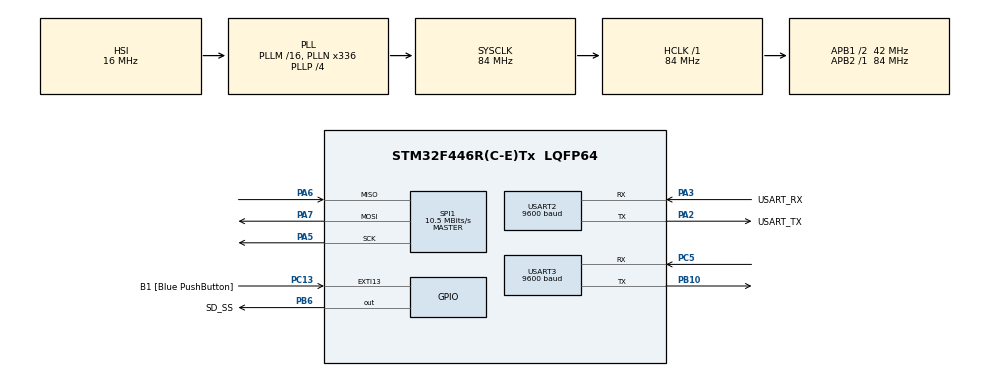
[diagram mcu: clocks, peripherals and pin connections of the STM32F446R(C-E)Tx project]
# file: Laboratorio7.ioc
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FATFS._MAX_SS=4096
FATFS._USE_LFN=1
Mcu.Family=STM32F4
Mcu.Name=STM32F446R(C-E)Tx
Mcu.Package=LQFP64
NVIC.PriorityGroup=NVIC_PRIORITYGROUP_0
NVIC.USART2_IRQn=true\:0\:0\:false\:false\:true\:true\:true\:true
PA13.GPIO_Label=TMS
PA13.Mode=Serial_Wire
PA13.Signal=SYS_JTMS-SWDIO
PA14.GPIO_Label=TCK
PA14.Mode=Serial_Wire
PA14.Signal=SYS_JTCK-SWCLK
PA2.GPIO_Label=USART_TX
PA2.Mode=Asynchronous
PA2.Signal=USART2_TX
PA3.GPIO_Label=USART_RX
PA3.Mode=Asynchronous
PA3.Signal=USART2_RX
PA5.Mode=Full_Duplex_Master
PA5.Signal=SPI1_SCK
PA6.Mode=Full_Duplex_Master
PA6.Signal=SPI1_MISO
PA7.Mode=Full_Duplex_Master
PA7.Signal=SPI1_MOSI
PB10.Mode=Asynchronous
PB10.Signal=USART3_TX
PB3.GPIO_Label=SWO
PB3.Signal=SYS_JTDO-SWO
PB6.GPIO_Label=SD_SS
PB6.GPIO_ModeDefaultOutputPP=GPIO_MODE_OUTPUT_PP
PB6.GPIO_Speed=GPIO_SPEED_FREQ_MEDIUM
PB6.Signal=GPIO_Output
PC13.GPIO_Label=B1 [Blue PushButton]
PC13.GPIO_ModeDefaultEXTI=GPIO_MODE_IT_FALLING
PC13.Signal=GPXTI13
PC14-OSC32_IN.Mode=LSE-External-Oscillator
PC14-OSC32_IN.Signal=RCC_OSC32_IN
PC15-OSC32_OUT.Mode=LSE-External-Oscillator
PC15-OSC32_OUT.Signal=RCC_OSC32_OUT
PC5.Mode=Asynchronous
PC5.Signal=USART3_RX
PH0-OSC_IN.Mode=HSE-External-Oscillator
PH0-OSC_IN.Signal=RCC_OSC_IN
PH1-OSC_OUT.Mode=HSE-External-Oscillator
PH1-OSC_OUT.Signal=RCC_OSC_OUT
ProjectManager.HeapSize=0x200
ProjectManager.StackSize=0x400
ProjectManager.TargetToolchain=STM32CubeIDE
RCC.48MHZClocksFreq_Value=84000000
RCC.AHBFreq_Value=84000000
RCC.APB1CLKDivider=RCC_HCLK_DIV2
RCC.APB1Freq_Value=42000000
RCC.APB1TimFreq_Value=84000000
RCC.APB2Freq_Value=84000000
RCC.APB2TimFreq_Value=84000000
RCC.CortexFreq_Value=84000000
RCC.FLatency-AdvancedSettings=FLASH_LATENCY_2
RCC.HCLKFreq_Value=84000000
RCC.HSE_VALUE=8000000
RCC.HSI_VALUE=16000000
RCC.PLLN=336
RCC.PLLP=RCC_PLLP_DIV4
RCC.SYSCLKFreq_VALUE=84000000
RCC.SYSCLKSource=RCC_SYSCLKSOURCE_PLLCLK
RCC.USBFreq_Value=168000000
RCC.VCOOutputFreq_Value=336000000
SPI1.BaudRatePrescaler=SPI_BAUDRATEPRESCALER_8
SPI1.CalculateBaudRate=10.5 MBits/s
SPI1.Direction=SPI_DIRECTION_2LINES
SPI1.Mode=SPI_MODE_MASTER
SPI1.VirtualType=VM_MASTER
USART2.BaudRate=9600
USART2.VirtualMode=VM_ASYNC
USART3.BaudRate=9600
USART3.VirtualMode=VM_ASYNC
VP_FATFS_VS_Generic.Mode=User_defined
board=NUCLEO-F446RE

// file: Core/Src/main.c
/* USER CODE BEGIN Header */
/**
  ******************************************************************************
  * @file           : main.c
  * @brief          : Main program body
  ******************************************************************************
  * @attention
  *
  * Copyright (c) 2025 STMicroelectronics.
  * All rights reserved.
  *
  * This software is licensed under terms that can be found in the LICENSE file
  * in the root directory of this software component.
  * If no LICENSE file comes with this software, it is provided AS-IS.
  *
  ******************************************************************************
  */
/* USER CODE END Header */
#include "main.h"
#include "fatfs.h"

/* USER CODE BEGIN Includes */
#include "fatfs_sd.h"
#include "string.h"
#include "stdio.h"
/* USER CODE END Includes */

/* USER CODE BEGIN PD */
SPI_HandleTypeDef hspi1;
FATFS fs;
FATFS *pfs;
FIL fil;
FRESULT fres;
DWORD fre_clust;
uint32_t totalSpace, freeSpace;
char buffer[100];
char buffer_terminal[10];
/* USER CODE END PD */

SPI_HandleTypeDef hspi1;

UART_HandleTypeDef huart2;
UART_HandleTypeDef huart3;

/* USER CODE BEGIN PV */

/*******************************************************************
 * Variables globles
 */

uint8_t temp[2];
uint16_t indx  = 0;

uint8_t flag_op1 = 0;
uint8_t flag_op2 = 0;
uint8_t flag_op3 = 0;
uint8_t flag_op4 = 0;

/* USER CODE END PV */

void SystemClock_Config(void);
static void MX_GPIO_Init(void);
static void MX_USART2_UART_Init(void);
static void MX_SPI1_Init(void);
static void MX_USART3_UART_Init(void);

/* USER CODE BEGIN 0 */
void transmit_uart(char *string){
	uint8_t len = strlen(string);
	HAL_UART_Transmit(&huart2, (uint8_t*) string , len, 200);
}
/* USER CODE END 0 */

int main(void)
{

  /* MCU Configuration--------------------------------------------------------*/

  /* Reset of all peripherals, Initializes the Flash interface and the Systick. */
  HAL_Init();

  /* Configure the system clock */
  SystemClock_Config();

  /* USER CODE BEGIN SysInit */
  uint8_t pruebas[] = "pruebas.txt";
  uint8_t pruebas1[] = "pruebas1.txt";
  uint8_t pruebas2[] = "pruebas2.txt";
  uint8_t pruebas3[] = "pruebas3.txt";

  /* USER CODE END SysInit */

  /* Initialize all configured peripherals */
  MX_GPIO_Init();
  MX_USART2_UART_Init();
  MX_SPI1_Init();
  MX_FATFS_Init();
  MX_USART3_UART_Init();
  /* USER CODE BEGIN 2 */

  //HAL_UART_Receive_IT(&huart3, temp, 1);
  HAL_UART_Receive_IT(&huart2, buffer_terminal, 10);

  /* USER CODE END 2 */

  /* Infinite loop */
  /* USER CODE BEGIN WHILE */
  while (1)
  {
	  /*Waiting for the Micro SD module to inicialitize*/
	    HAL_Delay(500);

	    //Montamos el sistema de archivos
	     fres = f_mount(&fs, "/", 0);
	     if (fres == FR_OK){
	   	  transmit_uart("Micro SD card is mounted successfully\n");
	     } else if (fres != FR_OK){
	   	  transmit_uart("Micro SD card's mount error!\n");
	     }

	    //HAL_UART_Transmit(&huart3, "hola", 10, 1000);
/*
	    //Abrimos el archivo en modo lectura
	            		    fres = f_open(&fil, pruebas1, FA_READ);
	            		    if (fres == FR_OK){
	            		  	  transmit_uart("File opened for reading. \n");
	            		    } else if (fres != FR_OK){
	            		  	  transmit_uart("File was not opened for reading. \n");
	            		    }

	            		    //Leemos el archivo
	            		    while (f_gets(buffer, sizeof(buffer), &fil)){
	            		  	  char mRd[100];
	            		  	  sprintf(mRd, "%s", buffer);
	            		  	  transmit_uart(mRd);
	            		    }

	            		    //Cerramos el archivo
	            		      fres = f_close(&fil);
	            		      if (fres == FR_OK){
	            		    	  transmit_uart("The file is closed. \n");
	            		      } else if (fres != FR_OK){
	            		    	  transmit_uart("The file was not closed. \n");
	            		      }

*/

	    //Montamos el sistema de archivos
	    fres = f_mount(&fs, "/", 0);
	    if (fres == FR_OK){
	  	  transmit_uart("Micro SD card is mounted successfully\n");
	    } else if (fres != FR_OK){
	  	  transmit_uart("Micro SD card's mount error!\n");
	    }

     //**************************************************************
         //Diseño de Menú
     //**************************************************************
         transmit_uart("Seleccionar archivo, presiona el número correspondiente: \n");
         transmit_uart("1. pruebas \n");
         transmit_uart("2. pruebas1 \n");
         transmit_uart("3. pruebas2 \n");
         transmit_uart("4. pruebas3 \n");

         for(int i = 0; i < 10; i++) {
        	    			if (buffer_terminal[i] == 49){   //117 es ASCII de u
        	    						flag_op1 = 1;
        	    						buffer_terminal[i] = 0;
        	    					}

        	    			if (buffer_terminal[i] == 50){   //100 es ASCII de d
        	    						flag_op2 = 1;
        	    						buffer_terminal[i] = 0;

        	    					}

        	    			if (buffer_terminal[i] == 51){   //108 es ASCII de l
        	    						flag_op3 = 1;
        	    						buffer_terminal[i] = 0;
        	    					}

        	    			if (buffer_terminal[i] == 52){   //114 es ASCII de l
        	    						flag_op4 = 1;
        	    						buffer_terminal[i] = 0;
        	    					}

        } //Fin del for

         if (flag_op1 == 1){
        	 flag_op1 = 0;
        	 //Abrimos el archivo en modo lectura
        		    fres = f_open(&fil, pruebas, FA_READ);
        		    if (fres == FR_OK){
        		  	  transmit_uart("File opened for reading. \n");
        		    } else if (fres != FR_OK){
        		  	  transmit_uart("File was not opened for reading. \n");
        		    }

        		    //Leemos el archivo
        		    while (f_gets(buffer, sizeof(buffer), &fil)){
        		  	  char mRd[100];
        		  	  sprintf(mRd, "%s", buffer);
        		  	  transmit_uart(mRd);
        		    }

        		    //Cerramos el archivo
        		      fres = f_close(&fil);
        		      if (fres == FR_OK){
        		    	  transmit_uart("The file is closed. \n");
        		      } else if (fres != FR_OK){
        		    	  transmit_uart("The file was not closed. \n");
        		      }
         } //fin del if

         if (flag_op2 == 1){
        	 flag_op2 = 0;
              //Abrimos el archivo en modo lectura
                		    fres = f_open(&fil, pruebas1, FA_READ);
                		    if (fres == FR_OK){
                		  	  transmit_uart("File opened for reading. \n");
                		    } else if (fres != FR_OK){
                		  	  transmit_uart("File was not opened for reading. \n");
                		    }

                		    //Leemos el archivo
                		    while (f_gets(buffer, sizeof(buffer), &fil)){
                		  	  char mRd[100];
                		  	  sprintf(mRd, "%s", buffer);
                		  	  transmit_uart(mRd);
                		    }

                		    //Cerramos el archivo
                		      fres = f_close(&fil);
                		      if (fres == FR_OK){
                		    	  transmit_uart("The file is closed. \n");
                		      } else if (fres != FR_OK){
                		    	  transmit_uart("The file was not closed. \n");
                		      }
                 } //fin del if

         if (flag_op3 == 1){
                	 //Abrimos el archivo en modo lectura
                		    fres = f_open(&fil, pruebas2, FA_READ);
                		    if (fres == FR_OK){
                		  	  transmit_uart("File opened for reading. \n");
                		    } else if (fres != FR_OK){
                		  	  transmit_uart("File was not opened for reading. \n");
                		    }

                		    //Leemos el archivo
                		    while (f_gets(buffer, sizeof(buffer), &fil)){
                		  	  char mRd[100];
                		  	  sprintf(mRd, "%s", buffer);
                		  	  transmit_uart(mRd);
                		    }

                		    //Cerramos el archivo
                		      fres = f_close(&fil);
                		      if (fres == FR_OK){
                		    	  transmit_uart("The file is closed. \n");
                		      } else if (fres != FR_OK){
                		    	  transmit_uart("The file was not closed. \n");
                		      }
                 } //fin del if

         if (flag_op4 == 1){
        	 flag_op4 = 0;
                	 //Abrimos el archivo en modo lectura
                		    fres = f_open(&fil, pruebas3, FA_READ);
                		    if (fres == FR_OK){
                		  	  transmit_uart("File opened for reading. \n");
                		    } else if (fres != FR_OK){
                		  	  transmit_uart("File was not opened for reading. \n");
                		    }

                		    //Leemos el archivo
                		    while (f_gets(buffer, sizeof(buffer), &fil)){
                		  	  char mRd[100];
                		  	  sprintf(mRd, "%s", buffer);
                		  	  transmit_uart(mRd);
                		    }

                		    //Cerramos el archivo
                		      fres = f_close(&fil);
                		      if (fres == FR_OK){
                		    	  transmit_uart("The file is closed. \n");
                		      } else if (fres != FR_OK){
                		    	  transmit_uart("The file was not closed. \n");
                		      }
                 } //fin del if

         //Desmontamos el sistema de archivos
         	    	 f_mount(NULL,  "", 1);
         	    	 if (fres == FR_OK){
         	    		 transmit_uart("The Micro SD card is unmounted! \n");
         	    	 } else if (fres != FR_OK){
         	    		 transmit_uart("The Micro SD card was not unmounted! \n");
         	    	 }

         	    	 HAL_Delay(2000);

    /* USER CODE END WHILE */

  }
}

void SystemClock_Config(void)
{
  RCC_OscInitTypeDef RCC_OscInitStruct = {0};
  RCC_ClkInitTypeDef RCC_ClkInitStruct = {0};

  /** Configure the main internal regulator output voltage
  */
  __HAL_RCC_PWR_CLK_ENABLE();
  __HAL_PWR_VOLTAGESCALING_CONFIG(PWR_REGULATOR_VOLTAGE_SCALE3);

  /** Initializes the RCC Oscillators according to the specified parameters
  * in the RCC_OscInitTypeDef structure.
  */
  RCC_OscInitStruct.OscillatorType = RCC_OSCILLATORTYPE_HSI;
  RCC_OscInitStruct.HSIState = RCC_HSI_ON;
  RCC_OscInitStruct.HSICalibrationValue = RCC_HSICALIBRATION_DEFAULT;
  RCC_OscInitStruct.PLL.PLLState = RCC_PLL_ON;
  RCC_OscInitStruct.PLL.PLLSource = RCC_PLLSOURCE_HSI;
  RCC_OscInitStruct.PLL.PLLM = 16;
  RCC_OscInitStruct.PLL.PLLN = 336;
  RCC_OscInitStruct.PLL.PLLP = RCC_PLLP_DIV4;
  RCC_OscInitStruct.PLL.PLLQ = 2;
  RCC_OscInitStruct.PLL.PLLR = 2;
  if (HAL_RCC_OscConfig(&RCC_OscInitStruct) != HAL_OK)
  {
    Error_Handler();
  }

  /** Initializes the CPU, AHB and APB buses clocks
  */
  RCC_ClkInitStruct.ClockType = RCC_CLOCKTYPE_HCLK|RCC_CLOCKTYPE_SYSCLK
                              |RCC_CLOCKTYPE_PCLK1|RCC_CLOCKTYPE_PCLK2;
  RCC_ClkInitStruct.SYSCLKSource = RCC_SYSCLKSOURCE_PLLCLK;
  RCC_ClkInitStruct.AHBCLKDivider = RCC_SYSCLK_DIV1;
  RCC_ClkInitStruct.APB1CLKDivider = RCC_HCLK_DIV2;
  RCC_ClkInitStruct.APB2CLKDivider = RCC_HCLK_DIV1;

  if (HAL_RCC_ClockConfig(&RCC_ClkInitStruct, FLASH_LATENCY_2) != HAL_OK)
  {
    Error_Handler();
  }
}

static void MX_SPI1_Init(void)
{

  /* SPI1 parameter configuration*/
  hspi1.Instance = SPI1;
  hspi1.Init.Mode = SPI_MODE_MASTER;
  hspi1.Init.Direction = SPI_DIRECTION_2LINES;
  hspi1.Init.DataSize = SPI_DATASIZE_8BIT;
  hspi1.Init.CLKPolarity = SPI_POLARITY_LOW;
  hspi1.Init.CLKPhase = SPI_PHASE_1EDGE;
  hspi1.Init.NSS = SPI_NSS_SOFT;
  hspi1.Init.BaudRatePrescaler = SPI_BAUDRATEPRESCALER_8;
  hspi1.Init.FirstBit = SPI_FIRSTBIT_MSB;
  hspi1.Init.TIMode = SPI_TIMODE_DISABLE;
  hspi1.Init.CRCCalculation = SPI_CRCCALCULATION_DISABLE;
  hspi1.Init.CRCPolynomial = 10;
  if (HAL_SPI_Init(&hspi1) != HAL_OK)
  {
    Error_Handler();
  }

}

static void MX_USART2_UART_Init(void)
{

  huart2.Instance = USART2;
  huart2.Init.BaudRate = 9600;
  huart2.Init.WordLength = UART_WORDLENGTH_8B;
  huart2.Init.StopBits = UART_STOPBITS_1;
  huart2.Init.Parity = UART_PARITY_NONE;
  huart2.Init.Mode = UART_MODE_TX_RX;
  huart2.Init.HwFlowCtl = UART_HWCONTROL_NONE;
  huart2.Init.OverSampling = UART_OVERSAMPLING_16;
  if (HAL_UART_Init(&huart2) != HAL_OK)
  {
    Error_Handler();
  }

}

static void MX_USART3_UART_Init(void)
{

  huart3.Instance = USART3;
  huart3.Init.BaudRate = 9600;
  huart3.Init.WordLength = UART_WORDLENGTH_8B;
  huart3.Init.StopBits = UART_STOPBITS_1;
  huart3.Init.Parity = UART_PARITY_NONE;
  huart3.Init.Mode = UART_MODE_TX_RX;
  huart3.Init.HwFlowCtl = UART_HWCONTROL_NONE;
  huart3.Init.OverSampling = UART_OVERSAMPLING_16;
  if (HAL_UART_Init(&huart3) != HAL_OK)
  {
    Error_Handler();
  }

}

static void MX_GPIO_Init(void)
{
  GPIO_InitTypeDef GPIO_InitStruct = {0};

  /* GPIO Ports Clock Enable */
  __HAL_RCC_GPIOC_CLK_ENABLE();
  __HAL_RCC_GPIOH_CLK_ENABLE();
  __HAL_RCC_GPIOA_CLK_ENABLE();
  __HAL_RCC_GPIOB_CLK_ENABLE();

  /*Configure GPIO pin Output Level */
  HAL_GPIO_WritePin(SD_SS_GPIO_Port, SD_SS_Pin, GPIO_PIN_RESET);

  /*Configure GPIO pin : B1_Pin */
  GPIO_InitStruct.Pin = B1_Pin;
  GPIO_InitStruct.Mode = GPIO_MODE_IT_FALLING;
  GPIO_InitStruct.Pull = GPIO_NOPULL;
  HAL_GPIO_Init(B1_GPIO_Port, &GPIO_InitStruct);

  /*Configure GPIO pin : SD_SS_Pin */
  GPIO_InitStruct.Pin = SD_SS_Pin;
  GPIO_InitStruct.Mode = GPIO_MODE_OUTPUT_PP;
  GPIO_InitStruct.Pull = GPIO_NOPULL;
  GPIO_InitStruct.Speed = GPIO_SPEED_FREQ_MEDIUM;
  HAL_GPIO_Init(SD_SS_GPIO_Port, &GPIO_InitStruct);

}

/* USER CODE BEGIN 4 */
void HAL_UART_RxCpltCallback(UART_HandleTypeDef *huart){
	//HAL_UART_Transmit(&huart3, buffer_terminal, sizeof(buffer_terminal), 1000);
	//HAL_UART_Receive_IT(&huart3, buffer_terminal, 10);

	memcpy (buffer_terminal + indx, temp, 1);
	++indx;
	if(indx >= 10){
		indx = 0;
	}

	HAL_UART_Receive_IT(&huart2, temp, 1);

}

/* USER CODE END 4 */

void Error_Handler(void)
{
  __disable_irq();
  while (1)
  {
  }
}
